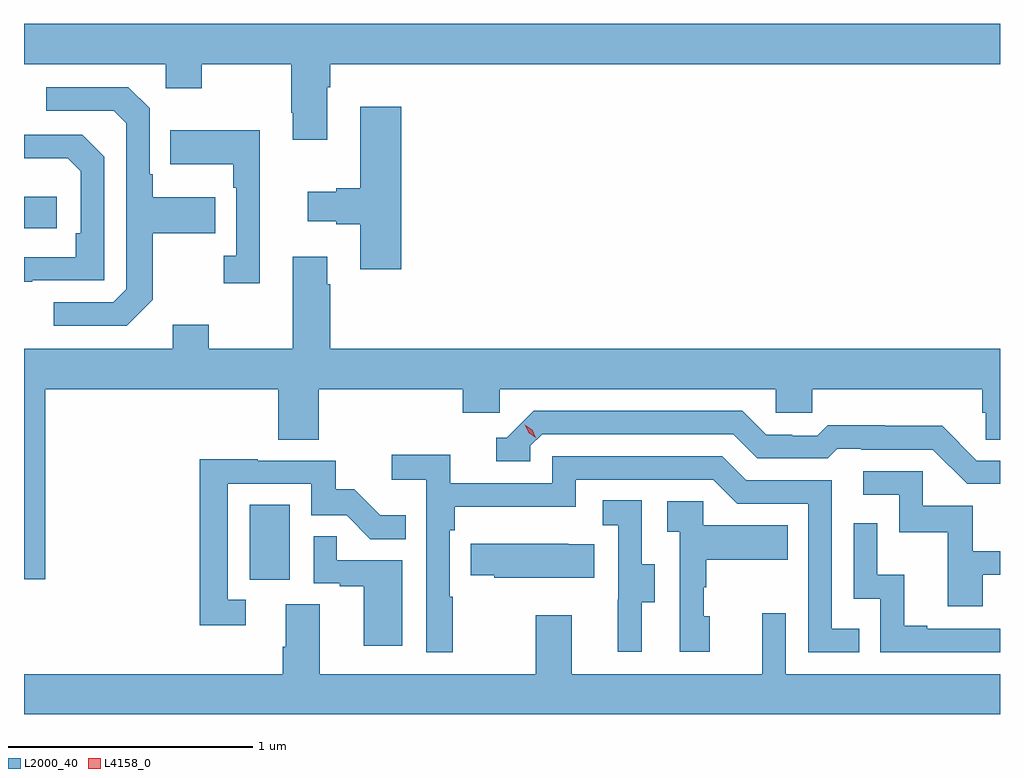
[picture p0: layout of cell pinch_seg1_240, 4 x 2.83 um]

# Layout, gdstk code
import gdstk
lib = gdstk.Library(unit=1e-6, precision=1e-09)
def R(c, l, rs):  # rectangles x0, y0, x1, y1
    for r in rs: c.add(gdstk.rectangle(r[:2], r[2:], *l))
def P(c, l, *ps):  # polygons
    for p in ps: c.add(gdstk.Polygon(p, *l))
L2000_40 = (2000, 40)
L4158_0 = (4158, 0)

pinch_seg1_240 = lib.new_cell('pinch_seg1_240')
R(pinch_seg1_240, L2000_40, [(901.916,566.934,902.08,567.241), (900.991,568.374,901.126,568.504)])
P(pinch_seg1_240, L2000_40, [(902.233,568.952),(902.246,568.952),(902.246,569.048),(904.991,569.048),(904.991,569.212),(900.991,569.212),(900.991,569.048),(901.572,569.048),(901.572,568.949),(901.719,568.949),(901.719,569.048),(902.086,569.048),(902.086,568.849),(902.093,568.849),(902.093,568.737),(902.233,568.737)],
  [(901.519,568.081),(901.519,568.354),(901.775,568.354),(901.775,568.501),(901.519,568.501),(901.519,568.597),(901.506,568.597),(901.506,568.866),(901.419,568.953),(901.083,568.953),(901.083,568.857),(901.359,568.857),(901.41,568.806),(901.41,568.125),(901.356,568.071),(901.113,568.071),(901.113,567.975),(901.413,567.975)],
  [(902.537,568.873),(902.369,568.873),(902.369,568.538),(902.27,568.538),(902.27,568.525),(902.154,568.525),(902.154,568.403),(902.27,568.403),(902.27,568.391),(902.369,568.391),(902.369,568.206),(902.537,568.206)],
  [(901.958,568.777),(901.591,568.777),(901.591,568.637),(901.848,568.637),(901.848,568.541),(901.86,568.541),(901.86,568.262),(901.809,568.262),(901.809,568.149),(901.958,568.149)],
  [(901.025,568.161),(901.32,568.161),(901.32,568.668),(901.23,568.758),(900.991,568.758),(900.991,568.661),(901.171,568.661),(901.224,568.608),(901.224,568.354),(901.204,568.354),(901.204,568.257),(900.991,568.257),(900.991,568.156),(901.025,568.156)],
  [(901.749,567.979),(901.601,567.979),(901.601,567.88),(900.991,567.88),(900.991,566.937),(901.079,566.937),(901.079,567.716),(902.033,567.716),(902.033,567.508),(902.198,567.508),(902.198,567.716),(902.789,567.716),(902.789,567.618),(902.94,567.618),(902.94,567.716),(904.071,567.716),(904.071,567.618),(904.221,567.618),(904.221,567.716),(904.919,567.716),(904.919,567.618),(904.933,567.618),(904.933,567.508),(904.991,567.508),(904.991,567.88),(902.246,567.88),(902.246,568.145),(902.233,568.145),(902.233,568.258),(902.093,568.258),(902.093,567.88),(901.749,567.88)],
  [(904.991,567.423),(904.896,567.423),(904.754,567.565),(904.518,567.565),(904.518,567.568),(904.285,567.568),(904.243,567.525),(904.14,567.525),(904.14,567.528),(904.033,567.528),(903.934,567.627),(903.081,567.627),(902.97,567.516),(902.927,567.516),(902.927,567.42),(903.066,567.42),(903.066,567.483),(903.114,567.531),(903.897,567.531),(903.996,567.432),(904.285,567.432),(904.324,567.471),(904.423,567.471),(904.423,567.468),(904.716,567.468),(904.857,567.327),(904.991,567.327)],
  [(902.749,566.864),(902.736,566.864),(902.736,567.137),(902.756,567.137),(902.756,567.233),(903.252,567.233),(903.252,567.345),(903.816,567.345),(903.915,567.246),(904.206,567.246),(904.206,566.637),(904.415,566.637),(904.415,566.733),(904.302,566.733),(904.302,567.342),(903.952,567.342),(903.853,567.441),(903.156,567.441),(903.156,567.33),(902.738,567.33),(902.738,567.446),(902.499,567.446),(902.499,567.344),(902.64,567.344),(902.64,566.637),(902.749,566.637)],
  [(901.9,566.853),(901.827,566.853),(901.827,567.327),(902.169,567.327),(902.169,567.198),(902.313,567.198),(902.411,567.1),(902.555,567.1),(902.555,567.199),(902.451,567.199),(902.344,567.306),(902.268,567.306),(902.268,567.423),(901.949,567.423),(901.949,567.428),(901.711,567.428),(901.711,566.748),(901.9,566.748)],
  [(904.921,566.955),(904.991,566.955),(904.991,567.051),(904.879,567.051),(904.879,567.237),(904.674,567.237),(904.674,567.378),(904.431,567.378),(904.431,567.282),(904.578,567.282),(904.578,567.129),(904.777,567.129),(904.777,566.826),(904.921,566.826)],
  [(903.523,566.842),(903.577,566.842),(903.577,566.997),(903.522,566.997),(903.522,567.26),(903.363,567.26),(903.363,567.157),(903.426,567.157),(903.426,566.853),(903.425,566.853),(903.425,566.64),(903.523,566.64)],
  [(903.802,566.784),(903.777,566.784),(903.777,566.903),(903.787,566.903),(903.787,567.017),(904.121,567.017),(904.121,567.157),(903.774,567.157),(903.774,567.255),(903.627,567.255),(903.627,567.131),(903.678,567.131),(903.678,566.64),(903.802,566.64)],
  [(904.991,566.733),(904.693,566.733),(904.693,566.746),(904.598,566.746),(904.598,566.954),(904.488,566.954),(904.488,567.166),(904.392,567.166),(904.392,566.856),(904.5,566.856),(904.5,566.637),(904.991,566.637)],
  [(902.542,567.015),(902.273,567.015),(902.273,567.113),(902.178,567.113),(902.178,566.919),(902.285,566.919),(902.285,566.907),(902.384,566.907),(902.384,566.664),(902.542,566.664)],
  [(903.329,567.079),(903.221,567.079),(903.221,567.082),(902.821,567.082),(902.821,566.953),(902.919,566.953),(902.919,566.942),(903.329,566.942)],
  [(904.991,566.548),(904.113,566.548),(904.113,566.797),(904.016,566.797),(904.016,566.548),(903.235,566.548),(903.235,566.788),(903.088,566.788),(903.088,566.548),(902.203,566.548),(902.203,566.834),(902.063,566.834),(902.063,566.66),(902.051,566.66),(902.051,566.548),(900.991,566.548),(900.991,566.384),(904.991,566.384)])
P(pinch_seg1_240, L4158_0, [(903.089,567.517),(903.059,567.536),(903.043,567.569),(903.043,567.57),(903.044,567.57),(903.074,567.55),(903.089,567.517),(903.089,567.517)])

lib.write_gds('pinch_seg1_240.gds')
